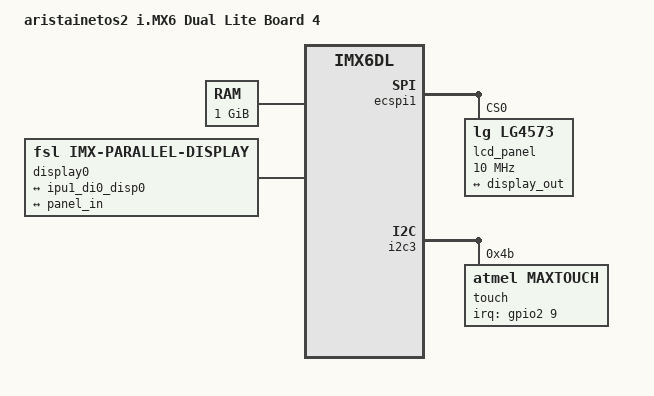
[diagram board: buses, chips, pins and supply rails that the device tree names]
/*
 * support for the imx6 based aristainetos2 board
 *
 * Copyright (C) 2015 Heiko Schocher <hs@denx.de>
 *
 * This file is dual-licensed: you can use it either under the terms
 * of the GPL or the X11 license, at your option. Note that this dual
 * licensing only applies to this file, and not this project as a
 * whole.
 *
 *  a) This file is free software; you can redistribute it and/or
 *     modify it under the terms of the GNU General Public License
 *     version 2 as published by the Free Software Foundation.
 *
 *     This file is distributed in the hope that it will be useful,
 *     but WITHOUT ANY WARRANTY; without even the implied warranty of
 *     MERCHANTABILITY or FITNESS FOR A PARTICULAR PURPOSE.  See the
 *     GNU General Public License for more details.
 *
 * Or, alternatively,
 *
 *  b) Permission is hereby granted, free of charge, to any person
 *     obtaining a copy of this software and associated documentation
 *     files (the "Software"), to deal in the Software without
 *     restriction, including without limitation the rights to use,
 *     copy, modify, merge, publish, distribute, sublicense, and/or
 *     sell copies of the Software, and to permit persons to whom the
 *     Software is furnished to do so, subject to the following
 *     conditions:
 *
 *     The above copyright notice and this permission notice shall be
 *     included in all copies or substantial portions of the Software.
 *
 *     THE SOFTWARE IS PROVIDED "AS IS", WITHOUT WARRANTY OF ANY KIND,
 *     EXPRESS OR IMPLIED, INCLUDING BUT NOT LIMITED TO THE WARRANTIES
 *     OF MERCHANTABILITY, FITNESS FOR A PARTICULAR PURPOSE AND
 *     NONINFRINGEMENT. IN NO EVENT SHALL THE AUTHORS OR COPYRIGHT
 *     HOLDERS BE LIABLE FOR ANY CLAIM, DAMAGES OR OTHER LIABILITY,
 *     WHETHER IN AN ACTION OF CONTRACT, TORT OR OTHERWISE, ARISING
 *     FROM, OUT OF OR IN CONNECTION WITH THE SOFTWARE OR THE USE OR
 *     OTHER DEALINGS IN THE SOFTWARE.
 */
/dts-v1/;
#include "imx6dl.dtsi"
#include "imx6qdl-aristainetos2.dtsi"

/ {
	model = "aristainetos2 i.MX6 Dual Lite Board 4";
	compatible = "abb,aristainetos2-imx6dl-4", "fsl,imx6dl";

	memory@10000000 {
		device_type = "memory";
		reg = <0x10000000 0x40000000>;
	};

	display0: disp0 {
		#address-cells = <1>;
		#size-cells = <0>;
		compatible = "fsl,imx-parallel-display";
		interface-pix-fmt = "rgb24";
		pinctrl-names = "default";
		pinctrl-0 = <&pinctrl_ipu_disp>;

		port@0 {
			reg = <0>;
			display0_in: endpoint {
				remote-endpoint = <&ipu1_di0_disp0>;
			};
		};

		port@1 {
			reg = <1>;
			display_out: endpoint {
				remote-endpoint = <&panel_in>;
			};
		};
	};
};

&ecspi1 {
	lcd_panel: display@0 {
		compatible = "lg,lg4573";
		spi-max-frequency = <10000000>;
		reg = <0>;
		power-on-delay = <10>;

		display-timings {
			480x800p57 {
				native-mode;
				clock-frequency = <27000027>;
				hactive = <480>;
				vactive = <800>;
				hfront-porch = <10>;
				hback-porch = <59>;
				hsync-len = <10>;
				vback-porch = <15>;
				vfront-porch = <15>;
				vsync-len = <15>;
				hsync-active = <1>;
				vsync-active = <1>;
			};
		};

		port {
			panel_in: endpoint {
				remote-endpoint = <&display_out>;
			};
		};
	};
};

&i2c3 {
	touch: touch@4b {
		compatible = "atmel,maxtouch";
		reg = <0x4b>;
		interrupt-parent = <&gpio2>;
		interrupts = <9 8>;
	};
};

&ipu1_di0_disp0 {
	remote-endpoint = <&display0_in>;
};

&iomuxc {
	pinctrl_ipu_disp: ipudisp1grp {
		fsl,pins = <
			MX6QDL_PAD_DI0_DISP_CLK__IPU1_DI0_DISP_CLK 0x31
			MX6QDL_PAD_DI0_PIN15__IPU1_DI0_PIN15       0xE1
			MX6QDL_PAD_DI0_PIN2__IPU1_DI0_PIN02        0x10
			MX6QDL_PAD_DI0_PIN3__IPU1_DI0_PIN03        0x10
			MX6QDL_PAD_DISP0_DAT0__IPU1_DISP0_DATA00   0xE1
			MX6QDL_PAD_DISP0_DAT1__IPU1_DISP0_DATA01   0xE1
			MX6QDL_PAD_DISP0_DAT2__IPU1_DISP0_DATA02   0xE1
			MX6QDL_PAD_DISP0_DAT3__IPU1_DISP0_DATA03   0xE1
			MX6QDL_PAD_DISP0_DAT4__IPU1_DISP0_DATA04   0xE1
			MX6QDL_PAD_DISP0_DAT5__IPU1_DISP0_DATA05   0xE1
			MX6QDL_PAD_DISP0_DAT6__IPU1_DISP0_DATA06   0xE1
			MX6QDL_PAD_DISP0_DAT7__IPU1_DISP0_DATA07   0xE1
			MX6QDL_PAD_DISP0_DAT8__IPU1_DISP0_DATA08   0xE1
			MX6QDL_PAD_DISP0_DAT9__IPU1_DISP0_DATA09   0xE1
			MX6QDL_PAD_DISP0_DAT10__IPU1_DISP0_DATA10  0xE1
			MX6QDL_PAD_DISP0_DAT11__IPU1_DISP0_DATA11  0xE1
			MX6QDL_PAD_DISP0_DAT12__IPU1_DISP0_DATA12  0xE1
			MX6QDL_PAD_DISP0_DAT13__IPU1_DISP0_DATA13  0xE1
			MX6QDL_PAD_DISP0_DAT14__IPU1_DISP0_DATA14  0xe1
			MX6QDL_PAD_DISP0_DAT15__IPU1_DISP0_DATA15  0xE1
			MX6QDL_PAD_DISP0_DAT16__IPU1_DISP0_DATA16  0xE1
			MX6QDL_PAD_DISP0_DAT17__IPU1_DISP0_DATA17  0xE1
			MX6QDL_PAD_DISP0_DAT18__IPU1_DISP0_DATA18  0xE1
			MX6QDL_PAD_DISP0_DAT19__IPU1_DISP0_DATA19  0xE1
			MX6QDL_PAD_DISP0_DAT20__IPU1_DISP0_DATA20  0xE1
			MX6QDL_PAD_DISP0_DAT21__IPU1_DISP0_DATA21  0xE1
			MX6QDL_PAD_DISP0_DAT22__IPU1_DISP0_DATA22  0xE1
			MX6QDL_PAD_DISP0_DAT23__IPU1_DISP0_DATA23  0xE1
		>;
	};
};
